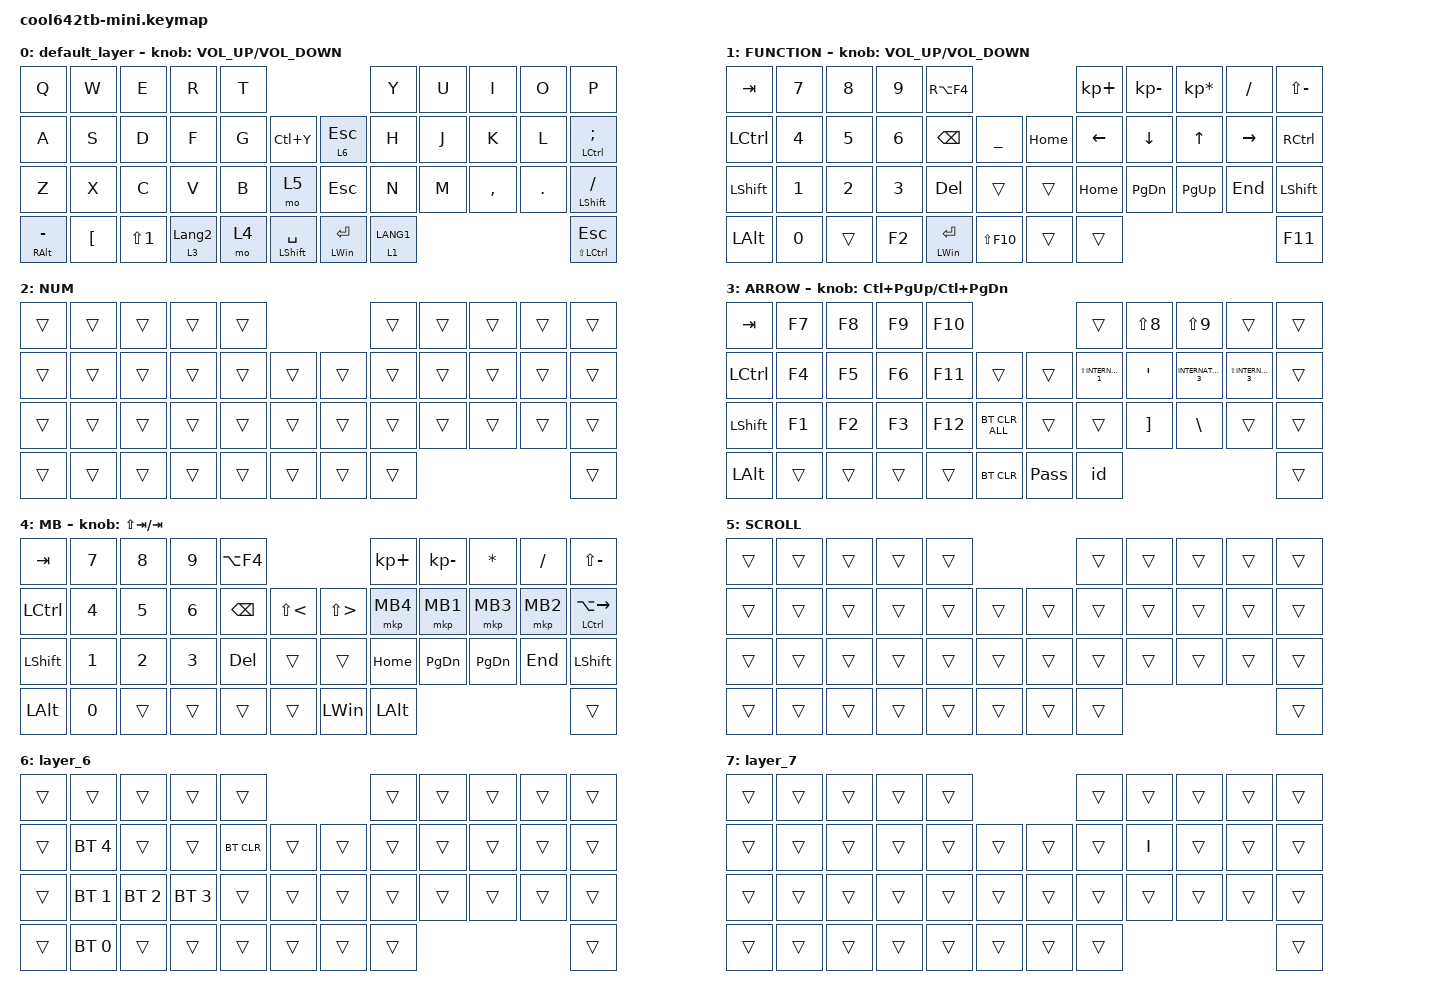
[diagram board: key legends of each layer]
#include <behaviors.dtsi>
#include <dt-bindings/zmk/bt.h>
#include <dt-bindings/zmk/keys.h>
#include <dt-bindings/zmk/pointing.h>

#define MOUSE 2
#define SCROLL 5
#define NUM 6
#define ZMK_POINTING_DEFAULT_SCRL_VAL 80

&mt {
    flavor = "balanced";
    quick-tap-ms = <0>;
};

/ {
    combos {
        compatible = "zmk,combos";

        shift_tab {
            bindings = <&kp LANG2>;
            key-positions = <12 13>;
        };

        lang {
            bindings = <&kp LANG1>;
            key-positions = <18 19>;
        };
    };

    behaviors {
        encoder_msc_down_up: encoder_msc_down_up {
            compatible = "zmk,behavior-sensor-rotate";
            label = "ENCODER_MSC_DOWN_UP";
            #sensor-binding-cells = <0>;
            bindings = <&msc SCRL_UP>, <&msc SCRL_DOWN>;

            tap-ms = <20>;
        };
    };

    macros {
        id: id {
            compatible = "zmk,behavior-macro";
            #binding-cells = <0>;
            bindings = <&kp NUMBER_2 &kp NUMBER_3 &kp N8 &kp NUMBER_4 &kp N9 &kp NUMBER_6>;
            label = "ID";
        };

        Pass: Pass {
            compatible = "zmk,behavior-macro";
            #binding-cells = <0>;
            bindings = <&kp LS(M) &kp K &kp NUMBER_2 &kp NUMBER_3 &kp NUMBER_3 &kp NUMBER_1 &kp NUMBER_1 &kp N0 &kp N5 &kp NUMBER_1 &kp NUMBER_2 &kp N5 &kp LS(NUMBER_1)>;
            label = "PASS";
        };
    };

    keymap {
        compatible = "zmk,keymap";

        default_layer {
            bindings = <
&kp Q                &kp W             &kp E       &kp R             &kp T                                            &kp Y        &kp U  &kp I      &kp O    &kp P
&kp A                &kp S             &kp D       &kp F             &kp G  &kp LC(Y)             &lt 6 ESCAPE        &kp H        &kp J  &kp K      &kp L    &mt LCTRL SEMICOLON
&kp Z                &kp X             &kp C       &kp V             &kp B  &mo 5                 &kp ESC             &kp N        &kp M  &kp COMMA  &kp DOT  &mt LEFT_SHIFT SLASH
&mt RIGHT_ALT MINUS  &kp LEFT_BRACKET  &kp LS(N1)  &lt 3 LANGUAGE_2  &mo 4  &mt LSHIFT SPACE      &mt LEFT_WIN ENTER  &lt 1 LANG1                             &mt LS(LCTRL) ESCAPE
            >;

            sensor-bindings = <&inc_dec_kp C_VOLUME_UP C_VOLUME_DOWN>;
        };

        FUNCTION {
            bindings = <
&kp TAB         &kp N7        &kp N8        &kp N9        &kp RA(F4)                                     &kp KP_PLUS  &kp KP_MINUS   &kp KP_ASTERISK  &kp SLASH  &kp LS(MINUS)
&kp LCTRL       &kp NUMBER_4  &kp N5        &kp NUMBER_6  &kp BACKSPACE       &kp UNDER        &kp HOME  &kp LEFT     &kp DOWN       &kp UP_ARROW     &kp RIGHT  &kp RCTRL
&kp LEFT_SHIFT  &kp NUMBER_1  &kp NUMBER_2  &kp NUMBER_3  &kp DELETE          &trans           &trans    &kp HOME     &kp PAGE_DOWN  &kp PAGE_UP      &kp END    &kp LEFT_SHIFT
&kp LEFT_ALT    &kp NUMBER_0  &trans        &kp F2        &mt LEFT_WIN ENTER  &kp LS(F10)      &trans    &trans                                                  &kp F11
            >;

            sensor-bindings = <&inc_dec_kp C_VOLUME_UP C_VOLUME_DOWN>;
        };

        NUM {
            bindings = <
&trans  &trans  &trans  &trans  &trans                      &trans  &trans  &trans  &trans  &trans
&trans  &trans  &trans  &trans  &trans  &trans      &trans  &trans  &trans  &trans  &trans  &trans
&trans  &trans  &trans  &trans  &trans  &trans      &trans  &trans  &trans  &trans  &trans  &trans
&trans  &trans  &trans  &trans  &trans  &trans      &trans  &trans                          &trans
            >;
        };

        ARROW {
            bindings = <
&kp TAB         &kp F7  &kp F8  &kp F9  &kp F10                              &trans                   &kp LS(N8)      &kp LS(N9)           &trans                   &trans
&kp LCTRL       &kp F4  &kp F5  &kp F6  &kp F11  &trans              &trans  &kp LS(INTERNATIONAL_1)  &kp APOSTROPHE  &kp INTERNATIONAL_3  &kp LS(INTERNATIONAL_3)  &trans
&kp LEFT_SHIFT  &kp F1  &kp F2  &kp F3  &kp F12  &bt BT_CLR_ALL      &trans  &trans                   &kp RBKT        &kp BACKSLASH        &trans                   &trans
&kp LEFT_ALT    &trans  &trans  &trans  &trans   &bt BT_CLR          &Pass   &id                                                                                    &trans
            >;

            sensor-bindings = <&inc_dec_kp LC(PAGE_UP) LC(PAGE_DOWN)>;
        };

        MB {
            bindings = <
&kp TAB         &kp N7        &kp N8  &kp N9  &kp LA(F4)                                   &kp KP_PLUS   &kp KP_MINUS   &kp ASTRK      &kp SLASH  &kp LS(MINUS)
&kp LCTRL       &kp N4        &kp N5  &kp N6  &kp BACKSPACE  &kp LS(LT)      &kp LS(GT)    &mkp MB4      &mkp MB1       &mkp MB3       &mkp MB2   &mt LCTRL LA(RIGHT)
&kp LEFT_SHIFT  &kp N1        &kp N2  &kp N3  &kp DELETE     &trans          &trans        &kp HOME      &kp PAGE_DOWN  &kp PAGE_DOWN  &kp END    &kp LEFT_SHIFT
&kp LEFT_ALT    &kp NUMBER_0  &trans  &trans  &trans         &trans          &kp LEFT_WIN  &kp LEFT_ALT                                           &trans
            >;

            sensor-bindings = <&inc_dec_kp LS(TAB) TAB>;
        };

        SCROLL {
            bindings = <
&trans  &trans  &trans  &trans  &trans                      &trans  &trans  &trans  &trans  &trans
&trans  &trans  &trans  &trans  &trans  &trans      &trans  &trans  &trans  &trans  &trans  &trans
&trans  &trans  &trans  &trans  &trans  &trans      &trans  &trans  &trans  &trans  &trans  &trans
&trans  &trans  &trans  &trans  &trans  &trans      &trans  &trans                          &trans
            >;
        };

        layer_6 {
            bindings = <
&trans  &trans        &trans        &trans        &trans                          &trans  &trans  &trans  &trans  &trans
&trans  &bt BT_SEL 4  &trans        &trans        &bt BT_CLR  &trans      &trans  &trans  &trans  &trans  &trans  &trans
&trans  &bt BT_SEL 1  &bt BT_SEL 2  &bt BT_SEL 3  &trans      &trans      &trans  &trans  &trans  &trans  &trans  &trans
&trans  &bt BT_SEL 0  &trans        &trans        &trans      &trans      &trans  &trans                          &trans
            >;
        };

        layer_7 {
            bindings = <
&trans  &trans  &trans  &trans  &trans                      &trans  &trans  &trans  &trans  &trans
&trans  &trans  &trans  &trans  &trans  &trans      &trans  &trans  &kp I   &trans  &trans  &trans
&trans  &trans  &trans  &trans  &trans  &trans      &trans  &trans  &trans  &trans  &trans  &trans
&trans  &trans  &trans  &trans  &trans  &trans      &trans  &trans                          &trans
            >;
        };
    };
};
